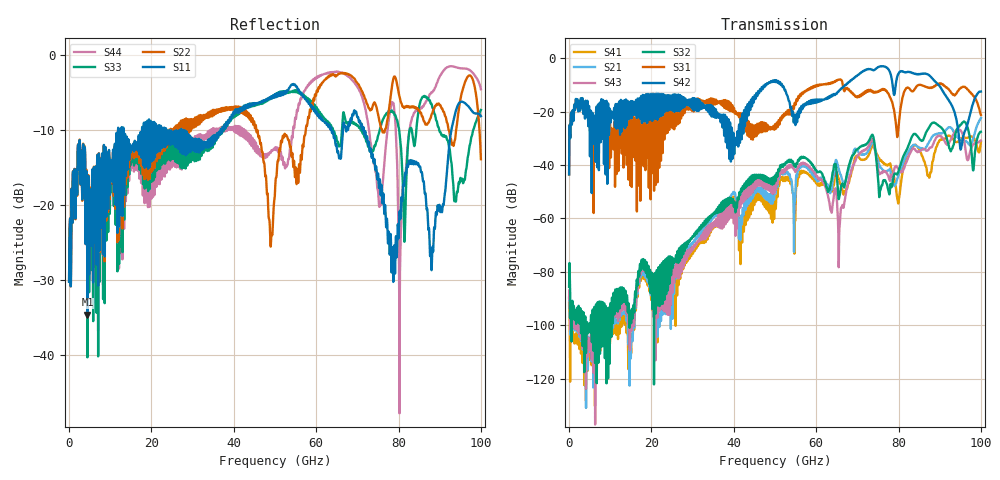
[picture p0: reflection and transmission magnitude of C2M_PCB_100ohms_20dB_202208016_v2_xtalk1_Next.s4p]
! Info: Touchstone file created by Circ.  Input file=Intel_C2M_200G_7p0in_202208016_staggered.circ
# Hz S RI R 50
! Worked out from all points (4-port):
!   10000 points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, 10 MHz to 100 GHz, reference 50 ohm
!   strongest paths, dB at 10 MHz, 25.01 GHz, 50.01 GHz, 75.01 GHz, 100 GHz:
!     S42: -43.5, -15.6, -8.5, -3.4, -12.5
!     S31: -43.6, -18.6, -24.9, -12.5, -21.2
!     S32: -85.6, -75.4, -44.0, -45.1, -27.6
!     S43: -89.7, -78.7, -46.8, -41.3, -30.9
!     S21: -90.0, -77.9, -48.2, -38.5, -22.4
!     S41: -91.5, -78.7, -52.1, -36.9, -31.5
!   lowest |S11| = -34.6 dB at 4.46 GHz (marker M1), VSWR 1.04, Z = 50.3 - j1.83 ohm
!   |S11| at or under -10 dB: start of sweep to 11.9 GHz; 27.68 GHz to 36.82 GHz (9.143 GHz wide, 28.4 % of centre); 71.6 GHz to 92.82 GHz (21.23 GHz wide, 25.8 % of centre)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
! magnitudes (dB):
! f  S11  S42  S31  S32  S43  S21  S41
! 10 MHz  -30.2  -43.5  -43.6  -85.6  -89.7  -90.0  -91.5
! 4.46 GHz  -34.6  -16.0  -17.2  -101.1  -109.2  -107.9  -112.8
! 40.14 GHz  -7.8  -34.1  -19.7  -54.2  -56.9  -50.6  -53.3
! 73.5 GHz  -13.7  -4.3  -12.3  -28.9  -30.7  -31.7  -33.2
! 76.21 GHz  -19.0  -3.0  -11.6  -46.2  -42.5  -41.9  -39.0
! 95.18 GHz  -6.2  -33.8  -11.0  -24.9  -27.3  -30.7  -30.1
! 100 GHz  -8.1  -12.5  -21.2  -27.6  -30.9  -22.4  -31.5
